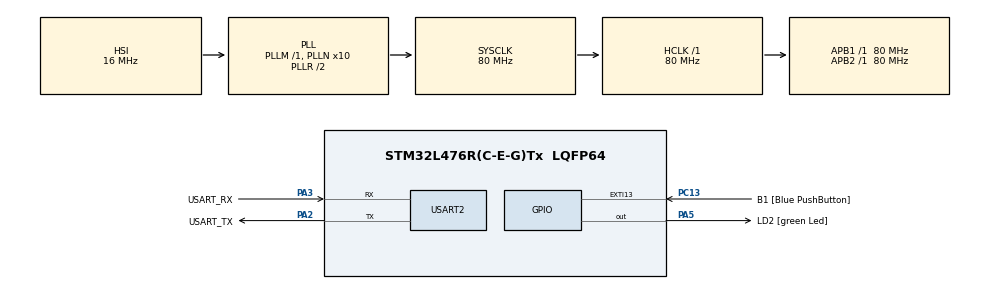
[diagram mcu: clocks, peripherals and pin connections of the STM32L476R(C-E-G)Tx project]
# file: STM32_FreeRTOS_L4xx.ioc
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FREERTOS.Tasks01=defaultTask,0,128,StartDefaultTask,Default,NULL,Dynamic,NULL,NULL
Mcu.Family=STM32L4
Mcu.Name=STM32L476R(C-E-G)Tx
Mcu.Package=LQFP64
NVIC.EXTI15_10_IRQn=true\:5\:0\:false\:false\:true\:true\:true\:true\:true
NVIC.PriorityGroup=NVIC_PRIORITYGROUP_4
PA13\ (JTMS-SWDIO).GPIO_Label=TMS
PA13\ (JTMS-SWDIO).Mode=Serial_Wire
PA13\ (JTMS-SWDIO).Signal=SYS_JTMS-SWDIO
PA14\ (JTCK-SWCLK).GPIO_Label=TCK
PA14\ (JTCK-SWCLK).Mode=Serial_Wire
PA14\ (JTCK-SWCLK).Signal=SYS_JTCK-SWCLK
PA2.GPIO_Label=USART_TX
PA2.GPIO_Mode=GPIO_MODE_AF_PP
PA2.GPIO_PuPd=GPIO_NOPULL
PA2.GPIO_Speed=GPIO_SPEED_FREQ_VERY_HIGH
PA2.Mode=Asynchronous
PA2.Signal=USART2_TX
PA3.GPIO_Label=USART_RX
PA3.GPIO_Mode=GPIO_MODE_AF_PP
PA3.GPIO_PuPd=GPIO_NOPULL
PA3.GPIO_Speed=GPIO_SPEED_FREQ_VERY_HIGH
PA3.Mode=Asynchronous
PA3.Signal=USART2_RX
PA5.GPIO_Label=LD2 [green Led]
PA5.GPIO_ModeDefaultOutputPP=GPIO_MODE_OUTPUT_PP
PA5.GPIO_PuPd=GPIO_NOPULL
PA5.GPIO_Speed=GPIO_SPEED_FREQ_LOW
PA5.Signal=GPIO_Output
PB3\ (JTDO-TRACESWO).GPIO_Label=SWO
PB3\ (JTDO-TRACESWO).Signal=SYS_JTDO-SWO
PC13.GPIO_Label=B1 [Blue PushButton]
PC13.GPIO_ModeDefaultEXTI=GPIO_MODE_IT_FALLING
PC13.GPIO_PuPd=GPIO_NOPULL
PC13.Signal=GPXTI13
PC14-OSC32_IN\ (PC14).Signal=RCC_OSC32_IN
PC15-OSC32_OUT\ (PC15).Signal=RCC_OSC32_OUT
PH0-OSC_IN\ (PH0).Mode=HSE-External-Oscillator
PH0-OSC_IN\ (PH0).Signal=RCC_OSC_IN
PH1-OSC_OUT\ (PH1).Mode=HSE-External-Oscillator
PH1-OSC_OUT\ (PH1).Signal=RCC_OSC_OUT
ProjectManager.HeapSize=0x200
ProjectManager.StackSize=0x400
ProjectManager.TargetToolchain=STM32CubeIDE
RCC.ADCFreq_Value=64000000
RCC.AHBFreq_Value=80000000
RCC.APB1Freq_Value=80000000
RCC.APB1TimFreq_Value=80000000
RCC.APB2Freq_Value=80000000
RCC.APB2TimFreq_Value=80000000
RCC.CortexFreq_Value=80000000
RCC.HCLKFreq_Value=80000000
RCC.HSE_VALUE=8000000
RCC.HSI_VALUE=16000000
RCC.LSE_VALUE=32768
RCC.MSI_VALUE=4000000
RCC.PLLN=10
RCC.PLLSourceVirtual=RCC_PLLSOURCE_HSI
RCC.PREFETCH_ENABLE=1
RCC.SYSCLKFreq_VALUE=80000000
RCC.SYSCLKSource=RCC_SYSCLKSOURCE_PLLCLK
RCC.USBFreq_Value=64000000
RCC.VCOOutputFreq_Value=160000000
USART2.VirtualMode-Asynchronous=VM_ASYNC
VP_FREERTOS_VS_CMSIS_V1.Mode=CMSIS_V1
board=NUCLEO-L476RG

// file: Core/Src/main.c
/* USER CODE BEGIN Header */
/**
  ******************************************************************************
  * @file           : main.c
  * @brief          : Main program body
  ******************************************************************************
  * @attention
  *
  * Copyright (c) 2025 STMicroelectronics.
  * All rights reserved.
  *
  * This software is licensed under terms that can be found in the LICENSE file
  * in the root directory of this software component.
  * If no LICENSE file comes with this software, it is provided AS-IS.
  *
  ******************************************************************************
  */
/* USER CODE END Header */
#include "main.h"
#include "cmsis_os.h"

UART_HandleTypeDef huart2;

osThreadId defaultTaskHandle;
/* USER CODE BEGIN PV */
TaskHandle_t xTaskHandle1 = {0};
TaskHandle_t xTaskHandle2 = {0};
uint8_t switchState = RESET;
/* USER CODE END PV */

void SystemClock_Config(void);
static void MX_GPIO_Init(void);
static void MX_USART2_UART_Init(void);
void StartDefaultTask(void const * argument);

/* USER CODE BEGIN PFP */
int _write(int file,char *ptr,int len)
{
    int i=0;
    for(i=0;i<len;i++)
    	ITM_SendChar((*ptr++));
    return len;
}
/* USER CODE END PFP */

/* USER CODE BEGIN 0 */
/*
 * Function Name : void task1Handle(void *para)
 * Description   : This function to control LED depending on button notification
 */
void task1LEDHandle(void *para)
{
	uint8_t txMsg[20];
	/* Infinite loop */
	while(1U)
	{
		sprintf(txMsg,"LED State is %d\r\n",HAL_GPIO_ReadPin(GPIOA, GPIO_PIN_5));
		HAL_UART_Transmit(&huart2, txMsg, 20, HAL_MAX_DELAY);
		vTaskDelay(pdMS_TO_TICKS(1000));
	}
}
/*
 * Function Name :  void task2Handle(void *para)
 * Description   :  This Function to update button status
 */
void task2SwitchHandle(void *para)
{

	while(1U)
	{

		HAL_GPIO_TogglePin(GPIOA, GPIO_PIN_5);
		vTaskDelay(pdMS_TO_TICKS(1000));

	}
}

void EXTI15_10_IRQHandler(void)
{
	switchState = SET;
}
/* USER CODE END 0 */

int main(void)
{

  /* MCU Configuration--------------------------------------------------------*/

  /* Reset of all peripherals, Initializes the Flash interface and the Systick. */
  HAL_Init();

  /* Configure the system clock */
  SystemClock_Config();

  /* Initialize all configured peripherals */
  MX_GPIO_Init();
  MX_USART2_UART_Init();

  /* Create the thread(s) */
  /* definition and creation of defaultTask */
  osThreadDef(defaultTask, StartDefaultTask, osPriorityNormal, 0, 128);
  defaultTaskHandle = osThreadCreate(osThread(defaultTask), NULL);

  /* USER CODE BEGIN RTOS_THREADS */
  /* add threads, ... */
  /* Function call to create task 1*/
  xTaskCreate(task1LEDHandle, "LED Blink ", configMINIMAL_STACK_SIZE , NULL, 1, &xTaskHandle1);
  /* Function call to create task 2*/
   xTaskCreate(task2SwitchHandle, "Switch State ", configMINIMAL_STACK_SIZE , NULL, 2, &xTaskHandle2);
  /* USER CODE END RTOS_THREADS */

  /* Start scheduler */
  osKernelStart();

  /* We should never get here as control is now taken by the scheduler */

  /* Infinite loop */
  while (1)
  {

  }
}

void SystemClock_Config(void)
{
  RCC_OscInitTypeDef RCC_OscInitStruct = {0};
  RCC_ClkInitTypeDef RCC_ClkInitStruct = {0};

  /** Configure the main internal regulator output voltage
  */
  if (HAL_PWREx_ControlVoltageScaling(PWR_REGULATOR_VOLTAGE_SCALE1) != HAL_OK)
  {
    Error_Handler();
  }

  /** Initializes the RCC Oscillators according to the specified parameters
  * in the RCC_OscInitTypeDef structure.
  */
  RCC_OscInitStruct.OscillatorType = RCC_OSCILLATORTYPE_HSI;
  RCC_OscInitStruct.HSIState = RCC_HSI_ON;
  RCC_OscInitStruct.HSICalibrationValue = RCC_HSICALIBRATION_DEFAULT;
  RCC_OscInitStruct.PLL.PLLState = RCC_PLL_ON;
  RCC_OscInitStruct.PLL.PLLSource = RCC_PLLSOURCE_HSI;
  RCC_OscInitStruct.PLL.PLLM = 1;
  RCC_OscInitStruct.PLL.PLLN = 10;
  RCC_OscInitStruct.PLL.PLLP = RCC_PLLP_DIV7;
  RCC_OscInitStruct.PLL.PLLQ = RCC_PLLQ_DIV2;
  RCC_OscInitStruct.PLL.PLLR = RCC_PLLR_DIV2;
  if (HAL_RCC_OscConfig(&RCC_OscInitStruct) != HAL_OK)
  {
    Error_Handler();
  }

  /** Initializes the CPU, AHB and APB buses clocks
  */
  RCC_ClkInitStruct.ClockType = RCC_CLOCKTYPE_HCLK|RCC_CLOCKTYPE_SYSCLK
                              |RCC_CLOCKTYPE_PCLK1|RCC_CLOCKTYPE_PCLK2;
  RCC_ClkInitStruct.SYSCLKSource = RCC_SYSCLKSOURCE_PLLCLK;
  RCC_ClkInitStruct.AHBCLKDivider = RCC_SYSCLK_DIV1;
  RCC_ClkInitStruct.APB1CLKDivider = RCC_HCLK_DIV1;
  RCC_ClkInitStruct.APB2CLKDivider = RCC_HCLK_DIV1;

  if (HAL_RCC_ClockConfig(&RCC_ClkInitStruct, FLASH_LATENCY_4) != HAL_OK)
  {
    Error_Handler();
  }
}

static void MX_USART2_UART_Init(void)
{

  huart2.Instance = USART2;
  huart2.Init.BaudRate = 115200;
  huart2.Init.WordLength = UART_WORDLENGTH_8B;
  huart2.Init.StopBits = UART_STOPBITS_1;
  huart2.Init.Parity = UART_PARITY_NONE;
  huart2.Init.Mode = UART_MODE_TX_RX;
  huart2.Init.HwFlowCtl = UART_HWCONTROL_NONE;
  huart2.Init.OverSampling = UART_OVERSAMPLING_16;
  huart2.Init.OneBitSampling = UART_ONE_BIT_SAMPLE_DISABLE;
  huart2.AdvancedInit.AdvFeatureInit = UART_ADVFEATURE_NO_INIT;
  if (HAL_UART_Init(&huart2) != HAL_OK)
  {
    Error_Handler();
  }

}

static void MX_GPIO_Init(void)
{
  GPIO_InitTypeDef GPIO_InitStruct = {0};

  /* GPIO Ports Clock Enable */
  __HAL_RCC_GPIOC_CLK_ENABLE();
  __HAL_RCC_GPIOH_CLK_ENABLE();
  __HAL_RCC_GPIOA_CLK_ENABLE();
  __HAL_RCC_GPIOB_CLK_ENABLE();

  /*Configure GPIO pin Output Level */
  HAL_GPIO_WritePin(LD2_GPIO_Port, LD2_Pin, GPIO_PIN_RESET);

  /*Configure GPIO pin : B1_Pin */
  GPIO_InitStruct.Pin = B1_Pin;
  GPIO_InitStruct.Mode = GPIO_MODE_IT_FALLING;
  GPIO_InitStruct.Pull = GPIO_NOPULL;
  HAL_GPIO_Init(B1_GPIO_Port, &GPIO_InitStruct);

  /*Configure GPIO pin : LD2_Pin */
  GPIO_InitStruct.Pin = LD2_Pin;
  GPIO_InitStruct.Mode = GPIO_MODE_OUTPUT_PP;
  GPIO_InitStruct.Pull = GPIO_NOPULL;
  GPIO_InitStruct.Speed = GPIO_SPEED_FREQ_LOW;
  HAL_GPIO_Init(LD2_GPIO_Port, &GPIO_InitStruct);

  /* EXTI interrupt init*/
  HAL_NVIC_SetPriority(EXTI15_10_IRQn, 5, 0);
  HAL_NVIC_EnableIRQ(EXTI15_10_IRQn);

}

void StartDefaultTask(void const * argument)
{
  for(;;)
  {
    osDelay(1);
  }
}

void Error_Handler(void)
{
  __disable_irq();
  while (1)
  {
  }
}
